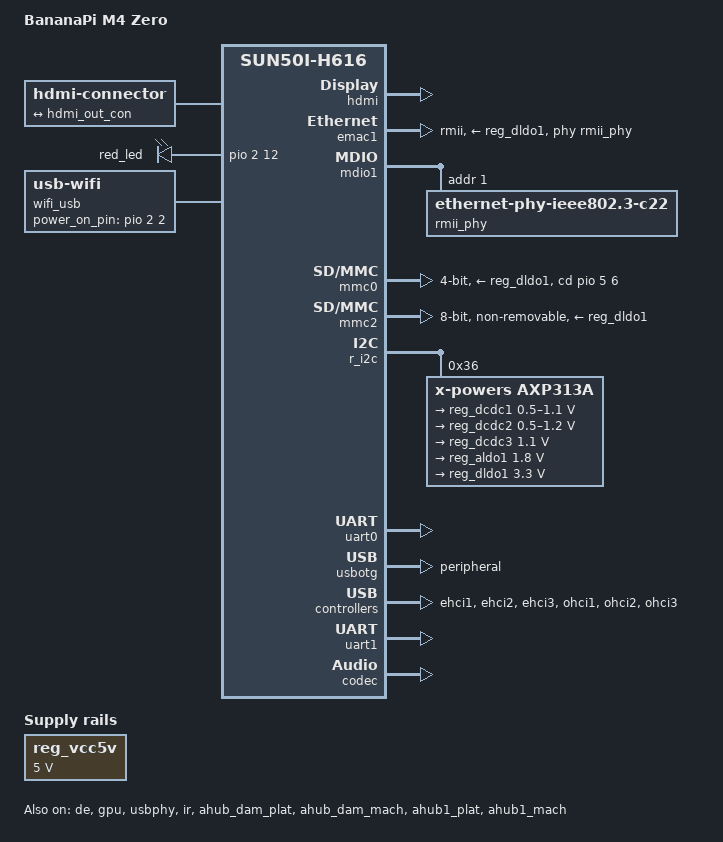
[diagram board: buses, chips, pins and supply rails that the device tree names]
// SPDX-License-Identifier: (GPL-2.0+ or MIT)
/*
 * Copyright (C) 2020 Arm Ltd.
 */

/dts-v1/;

#include "allwinner/sun50i-h616.dtsi"
#include "allwinner/sun50i-h616-cpu-opp.dtsi"

#include <dt-bindings/gpio/gpio.h>
#include <dt-bindings/interrupt-controller/arm-gic.h>
#include <dt-bindings/leds/common.h>

/ {
	model = "BananaPi M4 Zero";
	compatible = "BiPai,bananapi-m4zero", "allwinner,sun50i-h616";

	aliases {
		ethernet0 = &emac1;
		serial0 = &uart0;
		//serial5 = &uart5;
	};

	chosen {
		stdout-path = "serial0:115200n8";
	};

	connector {
		compatible = "hdmi-connector";
		type = "d";

		port {
			hdmi_con_in: endpoint {
				remote-endpoint = <&hdmi_out_con>;
			};
		};
	};

	leds: leds {
		compatible = "gpio-leds";

		led-greed {
			label = "red_led";
			gpios = <&pio 2 12 GPIO_ACTIVE_HIGH>; /* PC12 */
			linux,default-trigger = "heartbeat";
		};
	};

	wifi_usb {
		compatible = "usb-wifi";
		status = "okay";
		power_on_pin = <&pio 2 2 GPIO_ACTIVE_HIGH>; /* PC2 */
	};

	reg_vcc5v: vcc5v {
		/* board wide 5V supply directly from the USB-C socket */
		compatible = "regulator-fixed";
		regulator-name = "vcc-5v";
		regulator-min-microvolt = <5000000>;
		regulator-max-microvolt = <5000000>;
		regulator-always-on;
	};
};

&de {
	status = "okay";
};

&hdmi {
	//hvcc-supply = <&reg_bldo1>;
	status = "okay";
};

&hdmi_out {
	hdmi_out_con: endpoint {
		remote-endpoint = <&hdmi_con_in>;
	};
};

&gpu {
	mali-supply = <&reg_dcdc1>;
	status = "okay";
};

&emac1 {
	pinctrl-names = "default";
	pinctrl-0 = <&rmii_pins>;
	phy-mode = "rmii";
	phy-handle = <&rmii_phy>;
	phy-supply = <&reg_dldo1>;
	allwinner,rx-delay-ps = <3100>;
	allwinner,tx-delay-ps = <700>;
	status = "okay";
};

&mdio1 {
	rmii_phy: ethernet-phy@1 {
		compatible = "ethernet-phy-ieee802.3-c22";
		reg = <1>;
	};
};

&mmc0 {
	vmmc-supply = <&reg_dldo1>;
	cd-gpios = <&pio 5 6 GPIO_ACTIVE_HIGH>;	/* PF6 */
	bus-width = <4>;
	max-frequency = <50000000>;
	status = "okay";
};

&mmc2 {
	pinctrl-names = "default";

	vmmc-supply = <&reg_dldo1>;
	bus-width = <8>;
	non-removable;
	cap-mmc-hw-reset;
	status = "okay";
};

&r_i2c {
	status = "okay";

	axp313a: pmic@36 {
		compatible = "x-powers,axp313a";
		reg = <0x36>;
		wakeup-source;

		regulators{
			reg_dcdc1: dcdc1 {
				regulator-name = "axp313a-dcdc1";
				regulator-min-microvolt = <500000>;
				regulator-max-microvolt = <1100000>;
				regulator-step-delay-us = <25>;
				regulator-final-delay-us = <50>;
				regulator-always-on;
			};

			reg_dcdc2: dcdc2 {
				regulator-name = "axp313a-dcdc2";
				regulator-min-microvolt = <500000>;
				regulator-max-microvolt = <1200000>;
				regulator-step-delay-us = <25>;
				regulator-final-delay-us = <50>;
				regulator-ramp-delay = <200>;
				regulator-always-on;
			};

			reg_dcdc3: dcdc3 {
				regulator-name = "axp313a-dcdc3";
				regulator-min-microvolt = <1100000>;
				regulator-max-microvolt = <1100000>;
				regulator-step-delay-us = <25>;
				regulator-final-delay-us = <50>;
				regulator-always-on;
			};

			reg_aldo1: ldo1 {
				regulator-name = "axp313a-aldo1";
				regulator-min-microvolt = <1800000>;
				regulator-max-microvolt = <1800000>;
				regulator-step-delay-us = <25>;
				regulator-final-delay-us = <50>;
				regulator-always-on;
			};

			reg_dldo1: ldo2 {
				regulator-name = "axp313a-dldo1";
				regulator-min-microvolt = <3300000>;
				regulator-max-microvolt = <3300000>;
				regulator-step-delay-us = <25>;
				regulator-final-delay-us = <50>;
				regulator-always-on;
			};
		};
	};
};

&uart0 {
	pinctrl-names = "default";
	pinctrl-0 = <&uart0_ph_pins>;
	status = "okay";
};

&usbotg {
	/*
	 * PHY0 pins are connected to a USB-C socket, but a role switch
	 * is not implemented: both CC pins are pulled to GND.
	 * The VBUS pins power the device, so a fixed peripheral mode
	 * is the best choice.
	 * The board can be powered via GPIOs, in this case port0 *can*
	 * act as a host (with a cable/adapter ignoring CC), as VBUS is
	 * then provided by the GPIOs. Any user of this setup would
	 * need to adjust the DT accordingly: dr_mode set to "host",
	 * enabling OHCI0 and EHCI0.
	 */
	dr_mode = "peripheral";
	status = "okay";
};

&usbphy {
	usb1_vbus-supply = <&reg_vcc5v>;
	status = "okay";
};

&ehci0 {
	status = "disabled";
};

&ehci1 {
	status = "okay";
};

&ehci2 {
	status = "okay";
};

&ehci3 {
	status = "okay";
};

&ohci0 {
	status = "disabled";
};

&ohci1 {
	status = "okay";
};

&ohci2 {
	status = "okay";
};

&ohci3 {
	status = "okay";
};

&ir {
	pinctrl-names = "default";
	pinctrl-0 = <&ir_rx_pin>;
	status = "okay";
};

&i2c1 {
	status = "disabled";
};

&i2c2 {
	status = "disabled";
};

&i2c3 {
	status = "disabled";
};

&i2c4 {
	status = "disabled";
};

&uart1 {
	pinctrl-names = "default";
	pinctrl-0 = <&uart1_pins>, <&uart1_rts_cts_pins>;
	status = "okay";
};

/*&uart2 {
	pinctrl-names = "default";
	pinctrl-0 = <&uart2_ph_pins>;
	status = "disabled";
};

&uart5 {
	pinctrl-names = "default";
	pinctrl-0 = <&uart5_ph_pins>;
	status = "okay";
};
*/

&spi1 {
	status = "disabled";
	#address-cells = <1>;
	#size-cells = <0>;
	pinctrl-names = "default";
	pinctrl-0 = <&spi1_pins>, <&spi1_cs1_pin>;

	spidev@1 {
		compatible = "rohm,dh2228fv";
		status = "disabled";
		reg = <1>;
		spi-max-frequency = <1000000>;
	};
};

&codec {
	allwinner,audio-routing =
	        "Line Out", "LINEOUT";
	status = "okay";
};

&ahub_dam_plat {
	status = "okay";
};

&ahub_dam_mach {
	status = "okay";
};

&ahub1_plat {
	status = "okay";
};

&ahub1_mach {
	status = "okay";
};

/*&ahub_i2s2 {
	status = "okay";
};*/

&cpu0 {
	cpu-supply = <&reg_dcdc2>;
	status = "okay";
};
